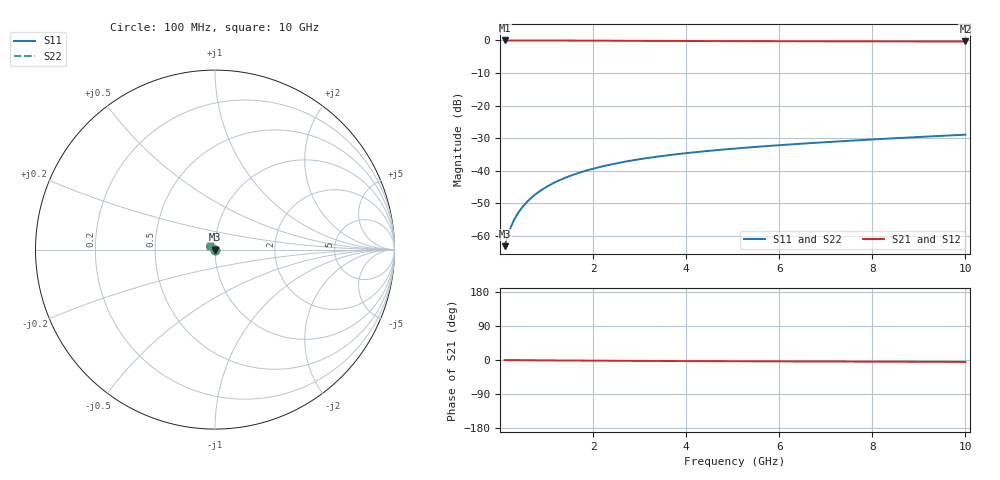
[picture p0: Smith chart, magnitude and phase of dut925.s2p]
! Touchstone file exported from HFSS 2024.1.0
!  File:  C:/UserFiles/LocalFiles/RDL_TSV_Batchsim/temp_TSV1_925_1779946587.aedt
!  Generated:  01:41:48 PM May 28, 2026
!  Design:  TSV1
!  Project:  temp_TSV1_925_1779946587
!  Setup:  Setup1
!  Solution:  Sweep
! Variables:
!  dtsv = 5.78um
!  hbump = 3um
!  htsv = 74.61um
!  lrdl = 252.1521522um
!  p = 40
!  p1 = 47.45um
!  t = 500um
!  trdl = 3um
!  wrdl = 24.89489489um
# GHz S MA R 50.000000
! Terminal data exported
! Port[1] = TSV22_T1
! Port[2] = TSV22_T2
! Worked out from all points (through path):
!   100 points, 100 MHz to 10 GHz, reference 50 ohm
!   highest |S21| = 0.00 dB at 100 MHz (marker M1); lowest = -0.3 dB at 10 GHz (marker M2)
!   lowest |S11| = -63.1 dB at 100 MHz (marker M3), VSWR 1.00, Z = 50 - j0.0586 ohm
!   |S11| at or under -10 dB: start of sweep to end of sweep
!   |S22| runs from -63.1 to -28.9 dB; largest |S21 - S12| = 2.3e-15
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0.1  0.0006994 -56.9  0.9996 -0.1  0.9996 -0.1  0.0006994 -56.9
! Gamma 0 0 0 0
! Port Impedance 50 0 50 0
0.2  0.001211 -75.0  0.9995 -0.2  0.9995 -0.2  0.001211 -75.0
0.3  0.00176 -83.5  0.9994 -0.3  0.9994 -0.3  0.00176 -83.5
0.4  0.00232 -89.0  0.9992 -0.4  0.9992 -0.4  0.00232 -89.0
0.5  0.002884 -93.1  0.999 -0.5  0.999 -0.5  0.002884 -93.1
0.6  0.003449 -96.6  0.9987 -0.6  0.9987 -0.6  0.003449 -96.6
0.7  0.004012 -99.7  0.9984 -0.7  0.9984 -0.7  0.004012 -99.7
0.8  0.004573 -102.5  0.9981 -0.8  0.9981 -0.8  0.004573 -102.5
0.9  0.005128 -105.1  0.9978 -0.8  0.9978 -0.8  0.005128 -105.1
1.1  0.006224 -110.0  0.997 -1.0  0.997 -1.0  0.006224 -110.0
1.4  0.007816 -116.7  0.9956 -1.3  0.9956 -1.3  0.007816 -116.7
1.6  0.008839 -120.9  0.9945 -1.4  0.9945 -1.4  0.008839 -120.9
1.8  0.009828 -124.9  0.9934 -1.6  0.9934 -1.6  0.009828 -124.9
2.1  0.01125 -130.7  0.9917 -1.8  0.9917 -1.8  0.01125 -130.7
2.5  0.01302 -137.9  0.9893 -2.0  0.9893 -2.0  0.01302 -137.9
2.9  0.01467 -144.7  0.9869 -2.3  0.9869 -2.3  0.01467 -144.7
3.4  0.01658 -152.5  0.9841 -2.5  0.9841 -2.5  0.01657 -152.5
4.2  0.01933 -163.6  0.98 -2.9  0.98 -2.9  0.01932 -163.6
5.1  0.02212 -174.3  0.9761 -3.3  0.9761 -3.3  0.02212 -174.3
6.7  0.02669 170.3  0.9711 -3.9  0.9711 -3.9  0.02669 170.3
8.4  0.03139 157.7  0.9674 -4.5  0.9674 -4.5  0.03139 157.7
10  0.03587 148.4  0.9649 -5.0  0.9649 -5.0  0.03587 148.4
